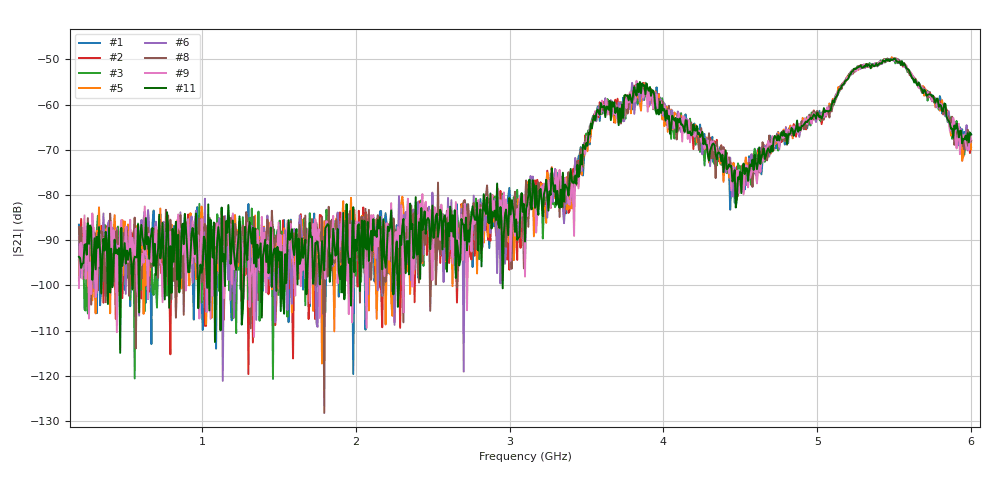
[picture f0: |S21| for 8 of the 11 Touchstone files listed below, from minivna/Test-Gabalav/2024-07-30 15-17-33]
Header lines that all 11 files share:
! NanoVNA-App by OneOfEleven et al v1.1.209 (+OD15)
! Start: 200MHz Stop: 6GHz Points: 801
! S-Parameter data: F S11 S21 S12 S22
# Hz S RI R 50
!  Frequency  S11_Real  S11_Imag  S21_Real  S21_Imag  S12_Real  S12_Imag  S22_Real  S22_Imag
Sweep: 200 MHz to 6 GHz
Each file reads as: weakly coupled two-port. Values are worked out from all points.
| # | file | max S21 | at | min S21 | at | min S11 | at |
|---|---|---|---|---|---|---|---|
| 1 | 0.s2p | -49.83 dB | 5.492 GHz | -119.6 dB | 1.984 GHz | -5.6 dB | 2.948 GHz |
| 2 | 2.s2p | -49.86 dB | 5.485 GHz | -119.6 dB | 1.302 GHz | -5.6 dB | 2.948 GHz |
| 3 | 3.s2p | -49.71 dB | 5.485 GHz | -120.7 dB | 1.462 GHz | -5.6 dB | 2.948 GHz |
| 4 | 7.s2p | -49.57 dB | 5.471 GHz | -129.6 dB | 772.8 MHz | -5.6 dB | 2.948 GHz |
| 5 | 8.s2p | -49.55 dB | 5.485 GHz | -117.3 dB | 1.78 GHz | -5.6 dB | 2.948 GHz |
| 6 | 10.s2p | -49.87 dB | 5.514 GHz | -121.1 dB | 1.135 GHz | -5.6 dB | 2.948 GHz |
| 7 | 11.s2p | -49.84 dB | 5.485 GHz | -118.3 dB | 1.433 GHz | -5.6 dB | 2.948 GHz |
| 8 | 12.s2p | -49.76 dB | 5.507 GHz | -128.2 dB | 1.795 GHz | -5.6 dB | 2.948 GHz |
| 9 | 13.s2p | -49.86 dB | 5.507 GHz | -111.4 dB | 1.338 GHz | -5.6 dB | 2.948 GHz |
| 10 | 15.s2p | -49.75 dB | 5.5 GHz | -112.5 dB | 729.2 MHz | -5.6 dB | 2.948 GHz |
| 11 | 18.s2p | -49.80 dB | 5.5 GHz | -114.9 dB | 468.2 MHz | -5.6 dB | 2.948 GHz |
